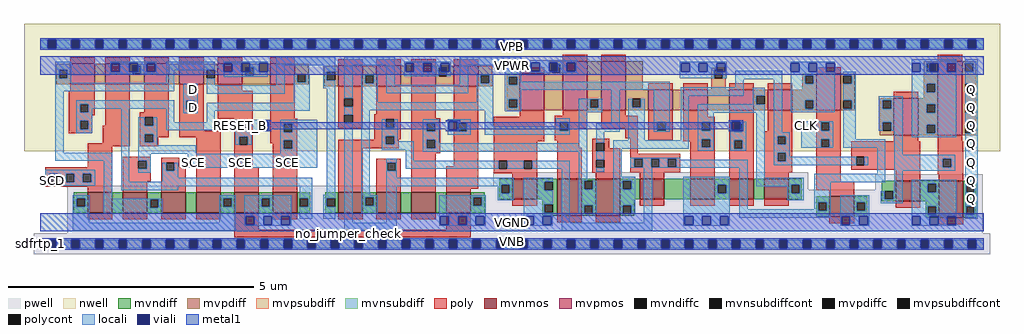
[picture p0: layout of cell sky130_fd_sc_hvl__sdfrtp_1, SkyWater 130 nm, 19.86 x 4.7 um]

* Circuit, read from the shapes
.subckt sky130_fd_sc_hvl__sdfrtp_1 CLK D RESET_B SCD SCE VGND VNB VPB VPWR Q
XM1 n1 SCD n2 VNB sky130_fd_pr__nfet_g5v0d10v5 w=0.42 l=0.5
XM2 n3 SCE n1 VNB sky130_fd_pr__nfet_g5v0d10v5 w=0.42 l=0.5
XM3 n4 n5 n3 VNB sky130_fd_pr__nfet_g5v0d10v5 w=0.42 l=0.5
XM4 n2 D n4 VNB sky130_fd_pr__nfet_g5v0d10v5 w=0.42 l=0.5
XM5 VGND RESET_B n2 VNB sky130_fd_pr__nfet_g5v0d10v5 w=0.42 l=0.5
XM6 n5 SCE VGND VNB sky130_fd_pr__nfet_g5v0d10v5 w=0.42 l=0.5
XM7 n6 n7 n3 VNB sky130_fd_pr__nfet_g5v0d10v5 w=0.42 l=0.5
XM8 n8 n9 n6 VNB sky130_fd_pr__nfet_g5v0d10v5 w=0.42 l=0.5
XM9 n10 n11 n8 VNB sky130_fd_pr__nfet_g5v0d10v5 w=0.42 l=0.5
XM10 VGND RESET_B n10 VNB sky130_fd_pr__nfet_g5v0d10v5 w=0.42 l=0.5
XM11 VGND n7 n9 VNB sky130_fd_pr__nfet_g5v0d10v5 w=0.42 l=0.5
XM12 n11 n6 VGND VNB sky130_fd_pr__nfet_g5v0d10v5 w=0.75 l=0.5
XM13 n12 n9 n11 VNB sky130_fd_pr__nfet_g5v0d10v5 w=0.75 l=0.5
XM14 n13 n7 n12 VNB sky130_fd_pr__nfet_g5v0d10v5 w=0.42 l=0.5
XM15 VGND n14 n13 VNB sky130_fd_pr__nfet_g5v0d10v5 w=0.42 l=0.5
XM16 n15 RESET_B VGND VNB sky130_fd_pr__nfet_g5v0d10v5 w=0.42 l=0.5
XM17 n14 n12 n15 VNB sky130_fd_pr__nfet_g5v0d10v5 w=0.42 l=0.5
XM18 VGND CLK n7 VNB sky130_fd_pr__nfet_g5v0d10v5 w=0.42 l=0.5
XM19 VGND n12 n16 VNB sky130_fd_pr__nfet_g5v0d10v5 w=0.42 l=0.5
XM20 Q n16 VGND VNB sky130_fd_pr__nfet_g5v0d10v5 w=0.75 l=0.5
XM21 n17 n5 n3 VPB sky130_fd_pr__pfet_g5v0d10v5 w=0.42 l=0.5
XM22 VPWR SCD n17 VPB sky130_fd_pr__pfet_g5v0d10v5 w=0.42 l=0.5
XM23 n18 SCE VPWR VPB sky130_fd_pr__pfet_g5v0d10v5 w=0.42 l=0.5
XM24 n3 D n18 VPB sky130_fd_pr__pfet_g5v0d10v5 w=0.42 l=0.5
XM25 VPWR RESET_B n3 VPB sky130_fd_pr__pfet_g5v0d10v5 w=0.42 l=0.5
XM26 n5 SCE VPWR VPB sky130_fd_pr__pfet_g5v0d10v5 w=0.42 l=0.5
XM27 n6 n9 n3 VPB sky130_fd_pr__pfet_g5v0d10v5 w=0.42 l=0.5
XM28 n19 n7 n6 VPB sky130_fd_pr__pfet_g5v0d10v5 w=0.42 l=0.5
XM29 VPWR n11 n19 VPB sky130_fd_pr__pfet_g5v0d10v5 w=0.42 l=0.5
XM30 n6 RESET_B VPWR VPB sky130_fd_pr__pfet_g5v0d10v5 w=0.42 l=0.5
XM31 VPWR n7 n9 VPB sky130_fd_pr__pfet_g5v0d10v5 w=0.75 l=0.5
XM32 n11 n6 VPWR VPB sky130_fd_pr__pfet_g5v0d10v5 w=1 l=0.5
XM33 n12 n7 n11 VPB sky130_fd_pr__pfet_g5v0d10v5 w=1 l=0.5
XM34 n20 n9 n12 VPB sky130_fd_pr__pfet_g5v0d10v5 w=0.42 l=0.5
XM35 VPWR n14 n20 VPB sky130_fd_pr__pfet_g5v0d10v5 w=0.42 l=0.5
XM36 n14 RESET_B VPWR VPB sky130_fd_pr__pfet_g5v0d10v5 w=0.42 l=0.5
XM37 VPWR n12 n14 VPB sky130_fd_pr__pfet_g5v0d10v5 w=0.42 l=0.5
XM38 n7 CLK VPWR VPB sky130_fd_pr__pfet_g5v0d10v5 w=0.75 l=0.5
XM39 VPWR n12 n16 VPB sky130_fd_pr__pfet_g5v0d10v5 w=0.75 l=0.5
XM40 Q n16 VPWR VPB sky130_fd_pr__pfet_g5v0d10v5 w=1.5 l=0.5
.ends

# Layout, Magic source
magic
tech sky130A
magscale 1 2
<< nwell >>
rect -66 377 3906 897
<< pwell >>
rect 1843 236 3125 291
rect 111 221 3125 236
rect 3399 221 3836 283
rect 111 43 3836 221
rect -26 -43 3866 43
<< mvnmos >>
rect 194 126 294 210
rect 336 126 436 210
rect 492 126 592 210
rect 634 126 734 210
rect 790 126 890 210
rect 946 126 1046 210
rect 1212 126 1312 210
rect 1368 126 1468 210
rect 1510 126 1610 210
rect 1652 126 1752 210
rect 1922 181 2022 265
rect 2104 115 2204 265
rect 2260 115 2360 265
rect 2439 181 2539 265
rect 2646 181 2746 265
rect 2804 181 2904 265
rect 2946 181 3046 265
rect 3212 111 3312 195
rect 3482 173 3582 257
rect 3657 107 3757 257
<< mvpmos >>
rect 122 649 222 733
rect 264 649 364 733
rect 424 649 524 733
rect 566 649 666 733
rect 722 649 822 733
rect 936 649 1036 733
rect 1212 641 1312 725
rect 1368 641 1468 725
rect 1510 641 1610 725
rect 1682 641 1782 725
rect 1952 543 2052 693
rect 2127 543 2227 743
rect 2283 543 2383 743
rect 2474 543 2574 627
rect 2616 543 2716 627
rect 2804 543 2904 627
rect 2960 543 3060 627
rect 3158 543 3258 693
rect 3474 443 3574 593
rect 3653 443 3753 743
<< mvndiff >>
rect 1869 240 1922 265
rect 137 185 194 210
rect 137 151 149 185
rect 183 151 194 185
rect 137 126 194 151
rect 294 126 336 210
rect 436 181 492 210
rect 436 147 447 181
rect 481 147 492 181
rect 436 126 492 147
rect 592 126 634 210
rect 734 185 790 210
rect 734 151 745 185
rect 779 151 790 185
rect 734 126 790 151
rect 890 185 946 210
rect 890 151 901 185
rect 935 151 946 185
rect 890 126 946 151
rect 1046 185 1099 210
rect 1046 151 1057 185
rect 1091 151 1099 185
rect 1046 126 1099 151
rect 1159 185 1212 210
rect 1159 151 1167 185
rect 1201 151 1212 185
rect 1159 126 1212 151
rect 1312 189 1368 210
rect 1312 155 1323 189
rect 1357 155 1368 189
rect 1312 126 1368 155
rect 1468 126 1510 210
rect 1610 126 1652 210
rect 1752 189 1809 210
rect 1752 155 1763 189
rect 1797 155 1809 189
rect 1869 206 1877 240
rect 1911 206 1922 240
rect 1869 181 1922 206
rect 2022 253 2104 265
rect 2022 219 2052 253
rect 2086 219 2104 253
rect 2022 181 2104 219
rect 2044 161 2104 181
rect 1752 126 1809 155
rect 2044 127 2052 161
rect 2086 127 2104 161
rect 2044 115 2104 127
rect 2204 257 2260 265
rect 2204 223 2215 257
rect 2249 223 2260 257
rect 2204 157 2260 223
rect 2204 123 2215 157
rect 2249 123 2260 157
rect 2204 115 2260 123
rect 2360 257 2439 265
rect 2360 223 2371 257
rect 2405 223 2439 257
rect 2360 181 2439 223
rect 2539 181 2646 265
rect 2746 240 2804 265
rect 2746 206 2757 240
rect 2791 206 2804 240
rect 2746 181 2804 206
rect 2904 181 2946 265
rect 3046 240 3099 265
rect 3046 206 3057 240
rect 3091 206 3099 240
rect 3046 181 3099 206
rect 3425 215 3482 257
rect 2360 157 2417 181
rect 2360 123 2371 157
rect 2405 123 2417 157
rect 3159 170 3212 195
rect 2360 115 2417 123
rect 3159 136 3167 170
rect 3201 136 3212 170
rect 3159 111 3212 136
rect 3312 170 3365 195
rect 3425 181 3437 215
rect 3471 181 3482 215
rect 3425 173 3482 181
rect 3582 245 3657 257
rect 3582 211 3612 245
rect 3646 211 3657 245
rect 3582 173 3657 211
rect 3312 136 3323 170
rect 3357 136 3365 170
rect 3604 153 3657 173
rect 3312 111 3365 136
rect 3604 119 3612 153
rect 3646 119 3657 153
rect 3604 107 3657 119
rect 3757 245 3810 257
rect 3757 211 3768 245
rect 3802 211 3810 245
rect 3757 153 3810 211
rect 3757 119 3768 153
rect 3802 119 3810 153
rect 3757 107 3810 119
<< mvpdiff >>
rect 65 708 122 733
rect 65 674 77 708
rect 111 674 122 708
rect 65 649 122 674
rect 222 649 264 733
rect 364 725 424 733
rect 364 691 375 725
rect 409 691 424 725
rect 364 649 424 691
rect 524 649 566 733
rect 666 708 722 733
rect 666 674 677 708
rect 711 674 722 708
rect 666 649 722 674
rect 822 720 936 733
rect 822 686 834 720
rect 868 686 936 720
rect 822 649 936 686
rect 1036 691 1093 733
rect 2074 731 2127 743
rect 1036 657 1047 691
rect 1081 657 1093 691
rect 1036 649 1093 657
rect 1155 700 1212 725
rect 1155 666 1167 700
rect 1201 666 1212 700
rect 1155 641 1212 666
rect 1312 687 1368 725
rect 1312 653 1323 687
rect 1357 653 1368 687
rect 1312 641 1368 653
rect 1468 641 1510 725
rect 1610 717 1682 725
rect 1610 683 1621 717
rect 1655 683 1682 717
rect 1610 641 1682 683
rect 1782 687 1839 725
rect 2074 697 2082 731
rect 2116 697 2127 731
rect 2074 693 2127 697
rect 1782 653 1793 687
rect 1827 653 1839 687
rect 1782 641 1839 653
rect 1899 681 1952 693
rect 1899 647 1907 681
rect 1941 647 1952 681
rect 1899 589 1952 647
rect 1899 555 1907 589
rect 1941 555 1952 589
rect 1899 543 1952 555
rect 2052 543 2127 693
rect 2227 588 2283 743
rect 2227 554 2238 588
rect 2272 554 2283 588
rect 2227 543 2283 554
rect 2383 627 2452 743
rect 3596 735 3653 743
rect 2731 708 2789 716
rect 2731 674 2743 708
rect 2777 674 2789 708
rect 3596 701 3608 735
rect 3642 701 3653 735
rect 2731 627 2789 674
rect 3101 685 3158 693
rect 3101 651 3113 685
rect 3147 651 3158 685
rect 3101 627 3158 651
rect 2383 590 2474 627
rect 2383 556 2410 590
rect 2444 556 2474 590
rect 2383 543 2474 556
rect 2574 543 2616 627
rect 2716 543 2804 627
rect 2904 602 2960 627
rect 2904 568 2915 602
rect 2949 568 2960 602
rect 2904 543 2960 568
rect 3060 585 3158 627
rect 3060 551 3113 585
rect 3147 551 3158 585
rect 3060 543 3158 551
rect 3258 685 3315 693
rect 3258 651 3269 685
rect 3303 651 3315 685
rect 3258 585 3315 651
rect 3596 652 3653 701
rect 3596 618 3608 652
rect 3642 618 3653 652
rect 3596 593 3653 618
rect 3258 551 3269 585
rect 3303 551 3315 585
rect 3258 543 3315 551
rect 3417 585 3474 593
rect 3417 551 3429 585
rect 3463 551 3474 585
rect 3417 495 3474 551
rect 3417 461 3429 495
rect 3463 461 3474 495
rect 3417 443 3474 461
rect 3574 568 3653 593
rect 3574 534 3608 568
rect 3642 534 3653 568
rect 3574 485 3653 534
rect 3574 451 3608 485
rect 3642 451 3653 485
rect 3574 443 3653 451
rect 3753 735 3810 743
rect 3753 701 3764 735
rect 3798 701 3810 735
rect 3753 652 3810 701
rect 3753 618 3764 652
rect 3798 618 3810 652
rect 3753 568 3810 618
rect 3753 534 3764 568
rect 3798 534 3810 568
rect 3753 485 3810 534
rect 3753 451 3764 485
rect 3798 451 3810 485
rect 3753 443 3810 451
<< mvndiffc >>
rect 149 151 183 185
rect 447 147 481 181
rect 745 151 779 185
rect 901 151 935 185
rect 1057 151 1091 185
rect 1167 151 1201 185
rect 1323 155 1357 189
rect 1763 155 1797 189
rect 1877 206 1911 240
rect 2052 219 2086 253
rect 2052 127 2086 161
rect 2215 223 2249 257
rect 2215 123 2249 157
rect 2371 223 2405 257
rect 2757 206 2791 240
rect 3057 206 3091 240
rect 2371 123 2405 157
rect 3167 136 3201 170
rect 3437 181 3471 215
rect 3612 211 3646 245
rect 3323 136 3357 170
rect 3612 119 3646 153
rect 3768 211 3802 245
rect 3768 119 3802 153
<< mvpdiffc >>
rect 77 674 111 708
rect 375 691 409 725
rect 677 674 711 708
rect 834 686 868 720
rect 1047 657 1081 691
rect 1167 666 1201 700
rect 1323 653 1357 687
rect 1621 683 1655 717
rect 2082 697 2116 731
rect 1793 653 1827 687
rect 1907 647 1941 681
rect 1907 555 1941 589
rect 2238 554 2272 588
rect 2743 674 2777 708
rect 3608 701 3642 735
rect 3113 651 3147 685
rect 2410 556 2444 590
rect 2915 568 2949 602
rect 3113 551 3147 585
rect 3269 651 3303 685
rect 3608 618 3642 652
rect 3269 551 3303 585
rect 3429 551 3463 585
rect 3429 461 3463 495
rect 3608 534 3642 568
rect 3608 451 3642 485
rect 3764 701 3798 735
rect 3764 618 3798 652
rect 3764 534 3798 568
rect 3764 451 3798 485
<< mvpsubdiff >>
rect 0 -17 31 17
rect 65 -17 127 17
rect 161 -17 223 17
rect 257 -17 319 17
rect 353 -17 415 17
rect 449 -17 511 17
rect 545 -17 607 17
rect 641 -17 703 17
rect 737 -17 799 17
rect 833 -17 895 17
rect 929 -17 991 17
rect 1025 -17 1087 17
rect 1121 -17 1183 17
rect 1217 -17 1279 17
rect 1313 -17 1375 17
rect 1409 -17 1471 17
rect 1505 -17 1567 17
rect 1601 -17 1663 17
rect 1697 -17 1759 17
rect 1793 -17 1855 17
rect 1889 -17 1951 17
rect 1985 -17 2047 17
rect 2081 -17 2143 17
rect 2177 -17 2239 17
rect 2273 -17 2335 17
rect 2369 -17 2431 17
rect 2465 -17 2527 17
rect 2561 -17 2623 17
rect 2657 -17 2719 17
rect 2753 -17 2815 17
rect 2849 -17 2911 17
rect 2945 -17 3007 17
rect 3041 -17 3103 17
rect 3137 -17 3199 17
rect 3233 -17 3295 17
rect 3329 -17 3391 17
rect 3425 -17 3487 17
rect 3521 -17 3583 17
rect 3617 -17 3679 17
rect 3713 -17 3775 17
rect 3809 -17 3840 17
<< mvnsubdiff >>
rect 0 797 31 831
rect 65 797 127 831
rect 161 797 223 831
rect 257 797 319 831
rect 353 797 415 831
rect 449 797 511 831
rect 545 797 607 831
rect 641 797 703 831
rect 737 797 799 831
rect 833 797 895 831
rect 929 797 991 831
rect 1025 797 1087 831
rect 1121 797 1183 831
rect 1217 797 1279 831
rect 1313 797 1375 831
rect 1409 797 1471 831
rect 1505 797 1567 831
rect 1601 797 1663 831
rect 1697 797 1759 831
rect 1793 797 1855 831
rect 1889 797 1951 831
rect 1985 797 2047 831
rect 2081 797 2143 831
rect 2177 797 2239 831
rect 2273 797 2335 831
rect 2369 797 2431 831
rect 2465 797 2527 831
rect 2561 797 2623 831
rect 2657 797 2719 831
rect 2753 797 2815 831
rect 2849 797 2911 831
rect 2945 797 3007 831
rect 3041 797 3103 831
rect 3137 797 3199 831
rect 3233 797 3295 831
rect 3329 797 3391 831
rect 3425 797 3487 831
rect 3521 797 3583 831
rect 3617 797 3679 831
rect 3713 797 3775 831
rect 3809 797 3840 831
<< mvpsubdiffcont >>
rect 31 -17 65 17
rect 127 -17 161 17
rect 223 -17 257 17
rect 319 -17 353 17
rect 415 -17 449 17
rect 511 -17 545 17
rect 607 -17 641 17
rect 703 -17 737 17
rect 799 -17 833 17
rect 895 -17 929 17
rect 991 -17 1025 17
rect 1087 -17 1121 17
rect 1183 -17 1217 17
rect 1279 -17 1313 17
rect 1375 -17 1409 17
rect 1471 -17 1505 17
rect 1567 -17 1601 17
rect 1663 -17 1697 17
rect 1759 -17 1793 17
rect 1855 -17 1889 17
rect 1951 -17 1985 17
rect 2047 -17 2081 17
rect 2143 -17 2177 17
rect 2239 -17 2273 17
rect 2335 -17 2369 17
rect 2431 -17 2465 17
rect 2527 -17 2561 17
rect 2623 -17 2657 17
rect 2719 -17 2753 17
rect 2815 -17 2849 17
rect 2911 -17 2945 17
rect 3007 -17 3041 17
rect 3103 -17 3137 17
rect 3199 -17 3233 17
rect 3295 -17 3329 17
rect 3391 -17 3425 17
rect 3487 -17 3521 17
rect 3583 -17 3617 17
rect 3679 -17 3713 17
rect 3775 -17 3809 17
<< mvnsubdiffcont >>
rect 31 797 65 831
rect 127 797 161 831
rect 223 797 257 831
rect 319 797 353 831
rect 415 797 449 831
rect 511 797 545 831
rect 607 797 641 831
rect 703 797 737 831
rect 799 797 833 831
rect 895 797 929 831
rect 991 797 1025 831
rect 1087 797 1121 831
rect 1183 797 1217 831
rect 1279 797 1313 831
rect 1375 797 1409 831
rect 1471 797 1505 831
rect 1567 797 1601 831
rect 1663 797 1697 831
rect 1759 797 1793 831
rect 1855 797 1889 831
rect 1951 797 1985 831
rect 2047 797 2081 831
rect 2143 797 2177 831
rect 2239 797 2273 831
rect 2335 797 2369 831
rect 2431 797 2465 831
rect 2527 797 2561 831
rect 2623 797 2657 831
rect 2719 797 2753 831
rect 2815 797 2849 831
rect 2911 797 2945 831
rect 3007 797 3041 831
rect 3103 797 3137 831
rect 3199 797 3233 831
rect 3295 797 3329 831
rect 3391 797 3425 831
rect 3487 797 3521 831
rect 3583 797 3617 831
rect 3679 797 3713 831
rect 3775 797 3809 831
<< poly >>
rect 122 733 222 759
rect 264 733 364 759
rect 424 733 524 759
rect 566 733 666 759
rect 722 733 822 759
rect 936 733 1036 759
rect 1212 725 1312 751
rect 1368 725 1468 751
rect 1510 725 1610 751
rect 1682 725 1782 751
rect 2127 743 2227 769
rect 2283 743 2383 769
rect 3653 743 3753 769
rect 122 623 222 649
rect 116 569 222 623
rect 116 535 162 569
rect 196 535 222 569
rect 116 523 222 535
rect 116 501 212 523
rect 116 467 162 501
rect 196 467 212 501
rect 264 481 364 649
rect 424 535 524 649
rect 116 451 212 467
rect 254 409 364 481
rect 194 397 364 409
rect 406 515 524 535
rect 406 481 426 515
rect 460 481 524 515
rect 406 447 524 481
rect 406 413 426 447
rect 460 435 524 447
rect 566 582 666 649
rect 566 548 595 582
rect 629 548 666 582
rect 566 461 666 548
rect 722 623 822 649
rect 722 509 864 623
rect 790 505 864 509
rect 790 471 810 505
rect 844 471 864 505
rect 566 435 734 461
rect 460 413 480 435
rect 406 397 480 413
rect 194 313 294 397
rect 21 286 294 313
rect 21 252 37 286
rect 71 252 105 286
rect 139 252 173 286
rect 207 252 294 286
rect 21 232 294 252
rect 194 210 294 232
rect 336 339 450 355
rect 336 305 399 339
rect 433 305 450 339
rect 336 255 450 305
rect 492 331 566 351
rect 492 297 512 331
rect 546 313 566 331
rect 546 297 592 313
rect 336 210 436 255
rect 492 210 592 297
rect 634 210 734 435
rect 790 437 864 471
rect 790 403 810 437
rect 844 403 864 437
rect 936 509 1036 649
rect 1952 693 2052 719
rect 1212 593 1312 641
rect 1212 559 1237 593
rect 1271 559 1312 593
rect 1212 525 1312 559
rect 1368 527 1468 641
rect 936 489 1046 509
rect 936 455 992 489
rect 1026 455 1046 489
rect 1212 491 1237 525
rect 1271 491 1312 525
rect 1212 471 1312 491
rect 1360 507 1468 527
rect 1360 473 1406 507
rect 1440 473 1468 507
rect 936 421 1046 455
rect 1360 439 1468 473
rect 1360 423 1406 439
rect 936 409 992 421
rect 790 313 864 403
rect 946 387 992 409
rect 1026 387 1046 421
rect 790 210 890 313
rect 946 210 1046 387
rect 1212 405 1406 423
rect 1440 427 1468 439
rect 1510 512 1610 641
rect 1510 492 1627 512
rect 1510 458 1573 492
rect 1607 458 1627 492
rect 1440 405 1460 427
rect 1212 389 1460 405
rect 1510 424 1627 458
rect 1510 390 1573 424
rect 1607 390 1627 424
rect 1212 210 1312 389
rect 1510 370 1627 390
rect 1682 493 1782 641
rect 3158 693 3258 719
rect 2474 627 2574 653
rect 2616 627 2716 653
rect 2804 627 2904 653
rect 2960 627 3060 653
rect 3474 593 3574 619
rect 1952 517 2052 543
rect 2127 521 2227 543
rect 1682 459 1702 493
rect 1736 459 1782 493
rect 1368 331 1468 347
rect 1368 297 1413 331
rect 1447 297 1468 331
rect 1368 210 1468 297
rect 1510 210 1610 370
rect 1682 317 1782 459
rect 1652 225 1782 317
rect 1846 417 2052 517
rect 2094 495 2227 521
rect 2094 461 2114 495
rect 2148 470 2227 495
rect 2283 521 2383 543
rect 2283 470 2432 521
rect 2148 461 2194 470
rect 2094 421 2194 461
rect 2380 431 2432 470
rect 1846 339 2022 417
rect 1846 305 1866 339
rect 1900 305 1968 339
rect 2002 305 2022 339
rect 1846 287 2022 305
rect 1922 265 2022 287
rect 2104 391 2194 421
rect 2246 411 2316 428
rect 2104 265 2204 391
rect 2246 377 2262 411
rect 2296 389 2316 411
rect 2296 377 2360 389
rect 2246 343 2360 377
rect 2246 309 2262 343
rect 2296 309 2360 343
rect 2246 289 2360 309
rect 2402 367 2432 431
rect 2474 495 2574 543
rect 2474 461 2512 495
rect 2546 461 2574 495
rect 2474 421 2574 461
rect 2616 517 2716 543
rect 2616 495 2746 517
rect 2616 461 2692 495
rect 2726 461 2746 495
rect 2616 427 2746 461
rect 2616 417 2692 427
rect 2646 393 2692 417
rect 2726 393 2746 427
rect 2402 347 2604 367
rect 2402 313 2418 347
rect 2452 313 2486 347
rect 2520 313 2554 347
rect 2588 313 2604 347
rect 2402 291 2604 313
rect 2260 265 2360 289
rect 2439 265 2539 291
rect 2646 265 2746 393
rect 2804 490 2904 543
rect 2804 456 2824 490
rect 2858 456 2904 490
rect 2960 459 3060 543
rect 2804 422 2904 456
rect 2804 388 2824 422
rect 2858 388 2904 422
rect 2804 265 2904 388
rect 2946 439 3060 459
rect 2946 405 3001 439
rect 3035 405 3060 439
rect 2946 371 3060 405
rect 2946 337 3001 371
rect 3035 337 3060 371
rect 2946 291 3060 337
rect 3158 495 3258 543
rect 3158 461 3178 495
rect 3212 461 3258 495
rect 3158 427 3258 461
rect 3158 393 3178 427
rect 3212 393 3258 427
rect 3474 417 3574 443
rect 3653 417 3753 443
rect 2946 265 3046 291
rect 1652 210 1752 225
rect 1922 155 2022 181
rect 194 100 294 126
rect 336 100 436 126
rect 492 100 592 126
rect 634 100 734 126
rect 790 58 890 126
rect 946 100 1046 126
rect 1212 100 1312 126
rect 1368 100 1468 126
rect 1510 100 1610 126
rect 1652 58 1752 126
rect 3158 253 3258 393
rect 3300 355 3582 417
rect 3300 321 3320 355
rect 3354 321 3582 355
rect 3300 301 3582 321
rect 3482 257 3582 301
rect 3653 347 3757 417
rect 3653 313 3673 347
rect 3707 313 3757 347
rect 3653 283 3757 313
rect 3657 257 3757 283
rect 3158 219 3312 253
rect 3212 195 3312 219
rect 2439 155 2539 181
rect 2646 155 2746 181
rect 2804 155 2904 181
rect 2946 155 3046 181
rect 2104 89 2204 115
rect 2260 89 2360 115
rect 3482 147 3582 173
rect 3212 85 3312 111
rect 3657 81 3757 107
rect 790 28 1752 58
<< polycont >>
rect 162 535 196 569
rect 162 467 196 501
rect 426 481 460 515
rect 426 413 460 447
rect 595 548 629 582
rect 810 471 844 505
rect 37 252 71 286
rect 105 252 139 286
rect 173 252 207 286
rect 399 305 433 339
rect 512 297 546 331
rect 810 403 844 437
rect 1237 559 1271 593
rect 992 455 1026 489
rect 1237 491 1271 525
rect 1406 473 1440 507
rect 992 387 1026 421
rect 1406 405 1440 439
rect 1573 458 1607 492
rect 1573 390 1607 424
rect 1702 459 1736 493
rect 1413 297 1447 331
rect 2114 461 2148 495
rect 1866 305 1900 339
rect 1968 305 2002 339
rect 2262 377 2296 411
rect 2262 309 2296 343
rect 2512 461 2546 495
rect 2692 461 2726 495
rect 2692 393 2726 427
rect 2418 313 2452 347
rect 2486 313 2520 347
rect 2554 313 2588 347
rect 2824 456 2858 490
rect 2824 388 2858 422
rect 3001 405 3035 439
rect 3001 337 3035 371
rect 3178 461 3212 495
rect 3178 393 3212 427
rect 3320 321 3354 355
rect 3673 313 3707 347
<< locali >>
rect 0 797 31 831
rect 65 797 127 831
rect 161 797 223 831
rect 257 797 319 831
rect 353 797 415 831
rect 449 797 511 831
rect 545 797 607 831
rect 641 797 703 831
rect 737 797 799 831
rect 833 797 895 831
rect 929 797 991 831
rect 1025 797 1087 831
rect 1121 797 1183 831
rect 1217 797 1279 831
rect 1313 797 1375 831
rect 1409 797 1471 831
rect 1505 797 1567 831
rect 1601 797 1663 831
rect 1697 797 1759 831
rect 1793 797 1855 831
rect 1889 797 1951 831
rect 1985 797 2047 831
rect 2081 797 2143 831
rect 2177 797 2239 831
rect 2273 797 2335 831
rect 2369 797 2431 831
rect 2465 797 2527 831
rect 2561 797 2623 831
rect 2657 797 2719 831
rect 2753 797 2815 831
rect 2849 797 2911 831
rect 2945 797 3007 831
rect 3041 797 3103 831
rect 3137 797 3199 831
rect 3233 797 3295 831
rect 3329 797 3391 831
rect 3425 797 3487 831
rect 3521 797 3583 831
rect 3617 797 3679 831
rect 3713 797 3775 831
rect 3809 797 3840 831
rect 61 708 127 741
rect 61 674 77 708
rect 111 674 127 708
rect 284 735 474 741
rect 284 701 290 735
rect 324 701 362 735
rect 396 725 434 735
rect 409 701 434 725
rect 468 701 474 735
rect 284 691 375 701
rect 409 691 474 701
rect 512 708 711 741
rect 512 707 677 708
rect 61 655 127 674
rect 512 655 546 707
rect 61 621 546 655
rect 747 735 925 741
rect 781 701 819 735
rect 853 720 891 735
rect 868 701 891 720
rect 747 686 834 701
rect 868 686 925 701
rect 747 681 925 686
rect 961 727 1201 761
rect 61 372 95 621
rect 146 569 546 585
rect 146 535 162 569
rect 196 551 546 569
rect 196 535 212 551
rect 146 501 212 535
rect 146 467 162 501
rect 196 467 212 501
rect 146 451 212 467
rect 61 338 293 372
rect 21 286 223 302
rect 21 252 37 286
rect 71 252 105 286
rect 139 252 173 286
rect 207 252 223 286
rect 21 236 223 252
rect 133 185 199 199
rect 133 151 149 185
rect 183 151 199 185
rect 133 87 199 151
rect 259 183 293 338
rect 329 253 363 551
rect 399 481 426 515
rect 460 481 476 515
rect 399 447 476 481
rect 512 496 546 551
rect 582 582 641 652
rect 677 645 711 674
rect 961 645 995 727
rect 1151 700 1201 727
rect 677 611 995 645
rect 1031 657 1047 691
rect 1081 657 1097 691
rect 582 548 595 582
rect 629 548 641 582
rect 1031 575 1097 657
rect 1151 666 1167 700
rect 1151 633 1201 666
rect 582 532 641 548
rect 677 541 1097 575
rect 677 496 711 541
rect 512 462 711 496
rect 793 471 810 505
rect 844 498 935 505
rect 844 471 895 498
rect 793 464 895 471
rect 929 464 935 498
rect 399 413 426 447
rect 460 413 476 447
rect 399 401 476 413
rect 793 458 935 464
rect 976 489 1127 505
rect 793 437 860 458
rect 793 403 810 437
rect 844 403 860 437
rect 976 455 992 489
rect 1026 455 1127 489
rect 976 421 1127 455
rect 399 367 635 401
rect 976 387 992 421
rect 1026 387 1127 421
rect 976 367 1127 387
rect 399 339 449 367
rect 433 305 449 339
rect 399 289 449 305
rect 496 297 512 331
rect 546 297 562 331
rect 601 310 1127 367
rect 496 269 562 297
rect 496 253 1107 269
rect 329 235 1107 253
rect 329 219 562 235
rect 729 185 795 199
rect 259 181 497 183
rect 259 147 447 181
rect 481 147 497 181
rect 259 123 497 147
rect 729 151 745 185
rect 779 151 795 185
rect 729 87 795 151
rect 133 53 795 87
rect 831 185 1021 199
rect 831 151 901 185
rect 935 151 1021 185
rect 831 113 1021 151
rect 831 79 837 113
rect 871 79 909 113
rect 943 79 981 113
rect 1015 79 1021 113
rect 1057 185 1107 235
rect 1167 201 1201 633
rect 1091 151 1107 185
rect 1057 103 1107 151
rect 1151 185 1201 201
rect 1151 151 1167 185
rect 1151 103 1201 151
rect 1237 727 1443 761
rect 1237 593 1271 727
rect 1237 525 1271 559
rect 831 73 1021 79
rect 1237 87 1271 491
rect 1307 687 1373 691
rect 1307 653 1323 687
rect 1357 653 1373 687
rect 1307 577 1373 653
rect 1409 647 1443 727
rect 1481 735 1671 741
rect 1481 701 1487 735
rect 1521 701 1559 735
rect 1593 717 1631 735
rect 1593 701 1621 717
rect 1665 701 1671 735
rect 1481 683 1621 701
rect 1655 683 1671 701
rect 1707 727 1957 761
rect 1707 647 1741 727
rect 1409 613 1741 647
rect 1777 687 1843 691
rect 1777 653 1793 687
rect 1827 653 1843 687
rect 1777 577 1843 653
rect 1307 543 1843 577
rect 1307 199 1341 543
rect 1390 473 1406 507
rect 1440 473 1456 507
rect 1390 439 1456 473
rect 1390 405 1406 439
rect 1440 417 1456 439
rect 1557 492 1623 507
rect 1557 458 1573 492
rect 1607 458 1623 492
rect 1557 424 1623 458
rect 1659 498 1752 507
rect 1659 464 1663 498
rect 1697 493 1752 498
rect 1697 464 1702 493
rect 1659 459 1702 464
rect 1736 459 1752 493
rect 1659 445 1752 459
rect 1809 479 1843 543
rect 1891 681 1957 727
rect 1993 737 2183 747
rect 1993 703 1999 737
rect 2033 703 2071 737
rect 2105 731 2143 737
rect 2116 703 2143 731
rect 2177 703 2183 737
rect 1993 697 2082 703
rect 2116 697 2183 703
rect 2603 735 2793 741
rect 2603 701 2609 735
rect 2643 701 2681 735
rect 2715 708 2753 735
rect 2715 701 2743 708
rect 2787 701 2793 735
rect 3055 735 3233 741
rect 1891 647 1907 681
rect 1941 661 1957 681
rect 2603 674 2743 701
rect 2777 674 2793 701
rect 2829 671 3019 705
rect 1941 647 2562 661
rect 1891 627 2562 647
rect 2829 638 2863 671
rect 1891 589 1957 627
rect 1891 555 1907 589
rect 1941 555 1957 589
rect 1891 539 1957 555
rect 2192 588 2288 591
rect 2192 554 2238 588
rect 2272 554 2288 588
rect 2192 535 2288 554
rect 2098 495 2156 511
rect 2098 479 2114 495
rect 1809 461 2114 479
rect 2148 461 2156 495
rect 1809 445 2156 461
rect 1440 405 1521 417
rect 1390 383 1521 405
rect 1409 331 1451 347
rect 1409 297 1413 331
rect 1447 297 1451 331
rect 1487 339 1521 383
rect 1557 390 1573 424
rect 1607 409 1623 424
rect 2192 409 2226 535
rect 2324 491 2358 627
rect 1607 390 2226 409
rect 1557 375 2226 390
rect 1487 305 1866 339
rect 1900 305 1968 339
rect 2002 305 2156 339
rect 1409 269 1451 297
rect 1409 240 1927 269
rect 1409 235 1877 240
rect 1307 189 1373 199
rect 1307 155 1323 189
rect 1357 155 1373 189
rect 1307 123 1373 155
rect 1409 87 1451 235
rect 1861 206 1877 235
rect 1911 206 1927 240
rect 1237 53 1451 87
rect 1623 189 1813 199
rect 1623 155 1763 189
rect 1797 155 1813 189
rect 1861 177 1927 206
rect 1968 253 2086 269
rect 1968 219 2052 253
rect 1623 113 1813 155
rect 1623 79 1629 113
rect 1663 79 1701 113
rect 1735 79 1773 113
rect 1807 79 1813 113
rect 1623 73 1813 79
rect 1968 161 2086 219
rect 1968 127 2052 161
rect 1968 113 2086 127
rect 1968 79 1974 113
rect 2008 79 2046 113
rect 2080 79 2086 113
rect 1968 73 2086 79
rect 2122 87 2156 305
rect 2192 257 2226 375
rect 2262 457 2358 491
rect 2394 590 2460 591
rect 2394 556 2410 590
rect 2444 556 2460 590
rect 2262 411 2296 457
rect 2394 421 2460 556
rect 2496 495 2562 627
rect 2496 461 2512 495
rect 2546 461 2562 495
rect 2496 457 2562 461
rect 2606 604 2863 638
rect 2606 421 2640 604
rect 2899 602 2949 635
rect 2899 568 2915 602
rect 2262 343 2296 377
rect 2262 293 2296 309
rect 2332 387 2640 421
rect 2676 534 2949 568
rect 2676 495 2742 534
rect 2676 461 2692 495
rect 2726 461 2742 495
rect 2676 427 2742 461
rect 2676 393 2692 427
rect 2726 393 2742 427
rect 2332 273 2366 387
rect 2676 379 2742 393
rect 2808 464 2815 498
rect 2849 490 2874 498
rect 2808 456 2824 464
rect 2858 456 2874 490
rect 2808 422 2874 456
rect 2808 388 2824 422
rect 2858 388 2874 422
rect 2808 379 2874 388
rect 2402 347 2604 351
rect 2402 313 2418 347
rect 2452 313 2486 347
rect 2520 313 2554 347
rect 2588 343 2604 347
rect 2588 313 2879 343
rect 2402 309 2879 313
rect 2332 257 2421 273
rect 2192 223 2215 257
rect 2249 223 2265 257
rect 2192 157 2265 223
rect 2192 123 2215 157
rect 2249 123 2265 157
rect 2332 223 2371 257
rect 2405 223 2421 257
rect 2332 157 2421 223
rect 2332 123 2371 157
rect 2405 123 2421 157
rect 2457 87 2491 309
rect 2122 53 2491 87
rect 2617 240 2807 273
rect 2617 206 2757 240
rect 2791 206 2807 240
rect 2617 113 2807 206
rect 2617 79 2623 113
rect 2657 79 2695 113
rect 2729 79 2767 113
rect 2801 79 2807 113
rect 2845 141 2879 309
rect 2915 269 2949 534
rect 2985 455 3019 671
rect 3089 701 3127 735
rect 3161 701 3199 735
rect 3546 735 3728 751
rect 3546 701 3548 735
rect 3582 701 3608 735
rect 3654 701 3692 735
rect 3726 701 3728 735
rect 3055 685 3233 701
rect 3055 651 3113 685
rect 3147 651 3233 685
rect 3055 585 3233 651
rect 3055 551 3113 585
rect 3147 551 3233 585
rect 3055 535 3233 551
rect 3269 685 3319 701
rect 3303 651 3319 685
rect 3269 585 3319 651
rect 3546 652 3728 701
rect 3546 618 3608 652
rect 3642 618 3728 652
rect 3303 551 3319 585
rect 3097 495 3228 499
rect 3097 461 3178 495
rect 3212 461 3228 495
rect 2985 439 3051 455
rect 2985 405 3001 439
rect 3035 405 3051 439
rect 2985 371 3051 405
rect 3097 427 3228 461
rect 3097 393 3178 427
rect 3212 393 3228 427
rect 3097 391 3228 393
rect 3269 425 3319 551
rect 3413 585 3510 601
rect 3413 551 3429 585
rect 3463 551 3510 585
rect 3413 495 3510 551
rect 3413 461 3429 495
rect 3463 461 3510 495
rect 3269 391 3440 425
rect 2985 337 3001 371
rect 3035 355 3051 371
rect 3035 337 3320 355
rect 2985 321 3320 337
rect 3354 321 3370 355
rect 3406 285 3440 391
rect 2915 240 3107 269
rect 2915 235 3057 240
rect 3041 206 3057 235
rect 3091 206 3107 240
rect 3041 177 3107 206
rect 3151 251 3440 285
rect 3476 363 3510 461
rect 3546 568 3728 618
rect 3546 534 3608 568
rect 3642 534 3728 568
rect 3546 485 3728 534
rect 3546 451 3608 485
rect 3642 451 3728 485
rect 3546 435 3728 451
rect 3764 735 3815 751
rect 3798 701 3815 735
rect 3764 652 3815 701
rect 3798 618 3815 652
rect 3764 568 3815 618
rect 3798 534 3815 568
rect 3764 485 3815 534
rect 3798 451 3815 485
rect 3476 347 3723 363
rect 3476 313 3673 347
rect 3707 313 3723 347
rect 3476 297 3723 313
rect 3151 170 3217 251
rect 3476 215 3510 297
rect 3151 141 3167 170
rect 2845 136 3167 141
rect 3201 136 3217 170
rect 2845 107 3217 136
rect 3255 170 3373 199
rect 3255 136 3323 170
rect 3357 136 3373 170
rect 3421 181 3437 215
rect 3471 181 3510 215
rect 3421 165 3510 181
rect 3546 245 3728 261
rect 3546 211 3612 245
rect 3646 211 3728 245
rect 3255 113 3373 136
rect 2617 73 2807 79
rect 3255 79 3261 113
rect 3295 79 3333 113
rect 3367 79 3373 113
rect 3255 73 3373 79
rect 3546 153 3728 211
rect 3546 119 3612 153
rect 3646 119 3728 153
rect 3546 113 3728 119
rect 3546 79 3548 113
rect 3582 79 3620 113
rect 3654 79 3692 113
rect 3726 79 3728 113
rect 3764 245 3815 451
rect 3764 211 3768 245
rect 3802 211 3815 245
rect 3764 153 3815 211
rect 3764 119 3768 153
rect 3802 119 3815 153
rect 3764 103 3815 119
rect 3546 73 3728 79
rect 0 -17 31 17
rect 65 -17 127 17
rect 161 -17 223 17
rect 257 -17 319 17
rect 353 -17 415 17
rect 449 -17 511 17
rect 545 -17 607 17
rect 641 -17 703 17
rect 737 -17 799 17
rect 833 -17 895 17
rect 929 -17 991 17
rect 1025 -17 1087 17
rect 1121 -17 1183 17
rect 1217 -17 1279 17
rect 1313 -17 1375 17
rect 1409 -17 1471 17
rect 1505 -17 1567 17
rect 1601 -17 1663 17
rect 1697 -17 1759 17
rect 1793 -17 1855 17
rect 1889 -17 1951 17
rect 1985 -17 2047 17
rect 2081 -17 2143 17
rect 2177 -17 2239 17
rect 2273 -17 2335 17
rect 2369 -17 2431 17
rect 2465 -17 2527 17
rect 2561 -17 2623 17
rect 2657 -17 2719 17
rect 2753 -17 2815 17
rect 2849 -17 2911 17
rect 2945 -17 3007 17
rect 3041 -17 3103 17
rect 3137 -17 3199 17
rect 3233 -17 3295 17
rect 3329 -17 3391 17
rect 3425 -17 3487 17
rect 3521 -17 3583 17
rect 3617 -17 3679 17
rect 3713 -17 3775 17
rect 3809 -17 3840 17
<< viali >>
rect 31 797 65 831
rect 127 797 161 831
rect 223 797 257 831
rect 319 797 353 831
rect 415 797 449 831
rect 511 797 545 831
rect 607 797 641 831
rect 703 797 737 831
rect 799 797 833 831
rect 895 797 929 831
rect 991 797 1025 831
rect 1087 797 1121 831
rect 1183 797 1217 831
rect 1279 797 1313 831
rect 1375 797 1409 831
rect 1471 797 1505 831
rect 1567 797 1601 831
rect 1663 797 1697 831
rect 1759 797 1793 831
rect 1855 797 1889 831
rect 1951 797 1985 831
rect 2047 797 2081 831
rect 2143 797 2177 831
rect 2239 797 2273 831
rect 2335 797 2369 831
rect 2431 797 2465 831
rect 2527 797 2561 831
rect 2623 797 2657 831
rect 2719 797 2753 831
rect 2815 797 2849 831
rect 2911 797 2945 831
rect 3007 797 3041 831
rect 3103 797 3137 831
rect 3199 797 3233 831
rect 3295 797 3329 831
rect 3391 797 3425 831
rect 3487 797 3521 831
rect 3583 797 3617 831
rect 3679 797 3713 831
rect 3775 797 3809 831
rect 290 701 324 735
rect 362 725 396 735
rect 362 701 375 725
rect 375 701 396 725
rect 434 701 468 735
rect 747 701 781 735
rect 819 720 853 735
rect 819 701 834 720
rect 834 701 853 720
rect 891 701 925 735
rect 895 464 929 498
rect 837 79 871 113
rect 909 79 943 113
rect 981 79 1015 113
rect 1487 701 1521 735
rect 1559 701 1593 735
rect 1631 717 1665 735
rect 1631 701 1655 717
rect 1655 701 1665 717
rect 1663 464 1697 498
rect 1999 703 2033 737
rect 2071 731 2105 737
rect 2071 703 2082 731
rect 2082 703 2105 731
rect 2143 703 2177 737
rect 2609 701 2643 735
rect 2681 701 2715 735
rect 2753 708 2787 735
rect 2753 701 2777 708
rect 2777 701 2787 708
rect 1629 79 1663 113
rect 1701 79 1735 113
rect 1773 79 1807 113
rect 1974 79 2008 113
rect 2046 79 2080 113
rect 2815 490 2849 498
rect 2815 464 2824 490
rect 2824 464 2849 490
rect 2623 79 2657 113
rect 2695 79 2729 113
rect 2767 79 2801 113
rect 3055 701 3089 735
rect 3127 701 3161 735
rect 3199 701 3233 735
rect 3548 701 3582 735
rect 3620 701 3642 735
rect 3642 701 3654 735
rect 3692 701 3726 735
rect 3261 79 3295 113
rect 3333 79 3367 113
rect 3548 79 3582 113
rect 3620 79 3654 113
rect 3692 79 3726 113
rect 31 -17 65 17
rect 127 -17 161 17
rect 223 -17 257 17
rect 319 -17 353 17
rect 415 -17 449 17
rect 511 -17 545 17
rect 607 -17 641 17
rect 703 -17 737 17
rect 799 -17 833 17
rect 895 -17 929 17
rect 991 -17 1025 17
rect 1087 -17 1121 17
rect 1183 -17 1217 17
rect 1279 -17 1313 17
rect 1375 -17 1409 17
rect 1471 -17 1505 17
rect 1567 -17 1601 17
rect 1663 -17 1697 17
rect 1759 -17 1793 17
rect 1855 -17 1889 17
rect 1951 -17 1985 17
rect 2047 -17 2081 17
rect 2143 -17 2177 17
rect 2239 -17 2273 17
rect 2335 -17 2369 17
rect 2431 -17 2465 17
rect 2527 -17 2561 17
rect 2623 -17 2657 17
rect 2719 -17 2753 17
rect 2815 -17 2849 17
rect 2911 -17 2945 17
rect 3007 -17 3041 17
rect 3103 -17 3137 17
rect 3199 -17 3233 17
rect 3295 -17 3329 17
rect 3391 -17 3425 17
rect 3487 -17 3521 17
rect 3583 -17 3617 17
rect 3679 -17 3713 17
rect 3775 -17 3809 17
<< metal1 >>
rect 0 831 3840 837
rect 0 797 31 831
rect 65 797 127 831
rect 161 797 223 831
rect 257 797 319 831
rect 353 797 415 831
rect 449 797 511 831
rect 545 797 607 831
rect 641 797 703 831
rect 737 797 799 831
rect 833 797 895 831
rect 929 797 991 831
rect 1025 797 1087 831
rect 1121 797 1183 831
rect 1217 797 1279 831
rect 1313 797 1375 831
rect 1409 797 1471 831
rect 1505 797 1567 831
rect 1601 797 1663 831
rect 1697 797 1759 831
rect 1793 797 1855 831
rect 1889 797 1951 831
rect 1985 797 2047 831
rect 2081 797 2143 831
rect 2177 797 2239 831
rect 2273 797 2335 831
rect 2369 797 2431 831
rect 2465 797 2527 831
rect 2561 797 2623 831
rect 2657 797 2719 831
rect 2753 797 2815 831
rect 2849 797 2911 831
rect 2945 797 3007 831
rect 3041 797 3103 831
rect 3137 797 3199 831
rect 3233 797 3295 831
rect 3329 797 3391 831
rect 3425 797 3487 831
rect 3521 797 3583 831
rect 3617 797 3679 831
rect 3713 797 3775 831
rect 3809 797 3840 831
rect 0 791 3840 797
rect 0 737 3840 763
rect 0 735 1999 737
rect 0 701 290 735
rect 324 701 362 735
rect 396 701 434 735
rect 468 701 747 735
rect 781 701 819 735
rect 853 701 891 735
rect 925 701 1487 735
rect 1521 701 1559 735
rect 1593 701 1631 735
rect 1665 703 1999 735
rect 2033 703 2071 737
rect 2105 703 2143 737
rect 2177 735 3840 737
rect 2177 703 2609 735
rect 1665 701 2609 703
rect 2643 701 2681 735
rect 2715 701 2753 735
rect 2787 701 3055 735
rect 3089 701 3127 735
rect 3161 701 3199 735
rect 3233 701 3548 735
rect 3582 701 3620 735
rect 3654 701 3692 735
rect 3726 701 3840 735
rect 0 689 3840 701
rect 883 498 941 504
rect 883 464 895 498
rect 929 495 941 498
rect 1651 498 1709 504
rect 1651 495 1663 498
rect 929 467 1663 495
rect 929 464 941 467
rect 883 458 941 464
rect 1651 464 1663 467
rect 1697 495 1709 498
rect 2803 498 2861 504
rect 2803 495 2815 498
rect 1697 467 2815 495
rect 1697 464 1709 467
rect 1651 458 1709 464
rect 2803 464 2815 467
rect 2849 464 2861 498
rect 2803 458 2861 464
rect 0 113 3840 125
rect 0 79 837 113
rect 871 79 909 113
rect 943 79 981 113
rect 1015 79 1629 113
rect 1663 79 1701 113
rect 1735 79 1773 113
rect 1807 79 1974 113
rect 2008 79 2046 113
rect 2080 79 2623 113
rect 2657 79 2695 113
rect 2729 79 2767 113
rect 2801 79 3261 113
rect 3295 79 3333 113
rect 3367 79 3548 113
rect 3582 79 3620 113
rect 3654 79 3692 113
rect 3726 79 3840 113
rect 0 51 3840 79
rect 0 17 3840 23
rect 0 -17 31 17
rect 65 -17 127 17
rect 161 -17 223 17
rect 257 -17 319 17
rect 353 -17 415 17
rect 449 -17 511 17
rect 545 -17 607 17
rect 641 -17 703 17
rect 737 -17 799 17
rect 833 -17 895 17
rect 929 -17 991 17
rect 1025 -17 1087 17
rect 1121 -17 1183 17
rect 1217 -17 1279 17
rect 1313 -17 1375 17
rect 1409 -17 1471 17
rect 1505 -17 1567 17
rect 1601 -17 1663 17
rect 1697 -17 1759 17
rect 1793 -17 1855 17
rect 1889 -17 1951 17
rect 1985 -17 2047 17
rect 2081 -17 2143 17
rect 2177 -17 2239 17
rect 2273 -17 2335 17
rect 2369 -17 2431 17
rect 2465 -17 2527 17
rect 2561 -17 2623 17
rect 2657 -17 2719 17
rect 2753 -17 2815 17
rect 2849 -17 2911 17
rect 2945 -17 3007 17
rect 3041 -17 3103 17
rect 3137 -17 3199 17
rect 3233 -17 3295 17
rect 3329 -17 3391 17
rect 3425 -17 3487 17
rect 3521 -17 3583 17
rect 3617 -17 3679 17
rect 3713 -17 3775 17
rect 3809 -17 3840 17
rect 0 -23 3840 -17
<< labels >>
flabel comment s 1256 43 1256 43 0 FreeSans 300 0 0 0 no_jumper_check
rlabel comment s 0 0 0 0 4 sdfrtp_1
flabel metal1 s 0 51 3840 125 0 FreeSans 340 0 0 0 VGND
port 6 nsew ground bidirectional
flabel metal1 s 0 0 3840 23 0 FreeSans 340 0 0 0 VNB
port 7 nsew ground bidirectional
flabel metal1 s 0 689 3840 763 0 FreeSans 340 0 0 0 VPWR
port 9 nsew power bidirectional
flabel metal1 s 0 791 3840 814 0 FreeSans 340 0 0 0 VPB
port 8 nsew power bidirectional
flabel locali s 31 242 65 276 0 FreeSans 340 0 0 0 SCD
port 4 nsew signal input
flabel locali s 127 242 161 276 0 FreeSans 340 0 0 0 SCD
port 4 nsew signal input
flabel locali s 607 316 641 350 0 FreeSans 340 0 0 0 SCE
port 5 nsew signal input
flabel locali s 703 316 737 350 0 FreeSans 340 0 0 0 SCE
port 5 nsew signal input
flabel locali s 799 316 833 350 0 FreeSans 340 0 0 0 SCE
port 5 nsew signal input
flabel locali s 895 316 929 350 0 FreeSans 340 0 0 0 SCE
port 5 nsew signal input
flabel locali s 991 316 1025 350 0 FreeSans 340 0 0 0 SCE
port 5 nsew signal input
flabel locali s 1087 316 1121 350 0 FreeSans 340 0 0 0 SCE
port 5 nsew signal input
flabel locali s 607 538 641 572 0 FreeSans 340 0 0 0 D
port 2 nsew signal input
flabel locali s 607 612 641 646 0 FreeSans 340 0 0 0 D
port 2 nsew signal input
flabel locali s 3103 464 3137 498 0 FreeSans 340 0 0 0 CLK
port 1 nsew clock input
flabel locali s 3775 168 3809 202 0 FreeSans 340 0 0 0 Q
port 10 nsew signal output
flabel locali s 3775 242 3809 276 0 FreeSans 340 0 0 0 Q
port 10 nsew signal output
flabel locali s 3775 316 3809 350 0 FreeSans 340 0 0 0 Q
port 10 nsew signal output
flabel locali s 3775 390 3809 424 0 FreeSans 340 0 0 0 Q
port 10 nsew signal output
flabel locali s 3775 464 3809 498 0 FreeSans 340 0 0 0 Q
port 10 nsew signal output
flabel locali s 3775 538 3809 572 0 FreeSans 340 0 0 0 Q
port 10 nsew signal output
flabel locali s 3775 612 3809 646 0 FreeSans 340 0 0 0 Q
port 10 nsew signal output
flabel locali s 799 464 833 498 0 FreeSans 340 0 0 0 RESET_B
port 3 nsew signal input
<< properties >>
string FIXED_BBOX 0 0 3840 814
string GDS_END 444346
string GDS_FILE $PDKPATH/libs.ref/sky130_fd_sc_hvl/gds/sky130_fd_sc_hvl.gds
string GDS_START 407998
string LEFclass CORE
string LEFsite unithv
string LEFsymmetry X Y
<< end >>
